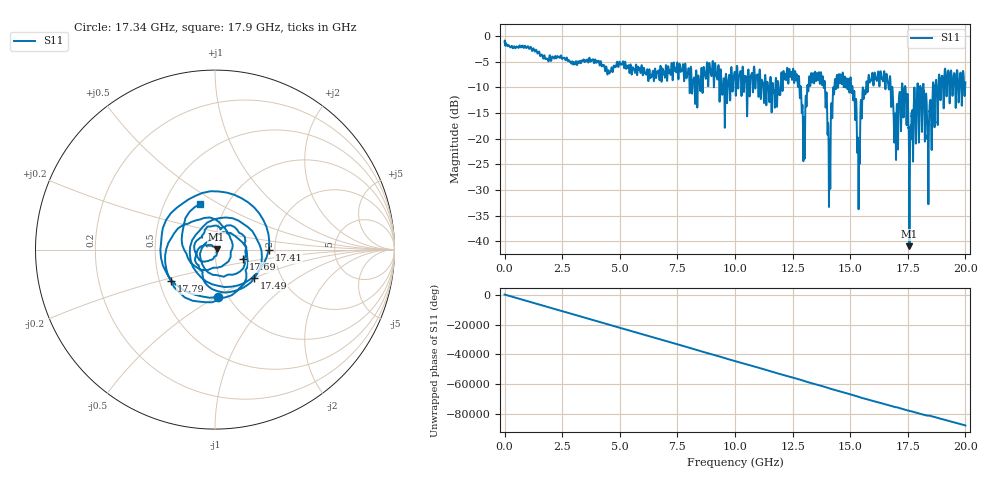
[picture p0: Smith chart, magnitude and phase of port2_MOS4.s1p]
! MS46122B
! 2250307/22442219
! 6/18/2025 7:51:07 AM
! C:\USERS\SPARKY\DOCUMENTS\VNA_DATA\JUNE18_2025\3.0K\PORT2_MOS4.S1P
! CHANNEL.1
! TR.MEASUREMENT
! RAW.DATA
# GHZ S RI R 50.0
! FREQ.GHZ  S11RE  S11IM
!; PortSelection: Port_1
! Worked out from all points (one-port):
!   10001 points, 1 MHz to 20 GHz, reference 50 ohm
!   lowest |S11| = -41.0 dB at 17.57 GHz (marker M1), VSWR 1.02, Z = 50.9 + j0.136 ohm
!   |S11| at or under -10 dB: 15.1 GHz to 15.69 GHz (584.5 MHz wide, 3.8 % of centre); 16.83 GHz to 17.25 GHz (414.4 MHz wide, 2.43 % of centre); 17.4 GHz to 17.91 GHz (508.1 MHz wide, 2.88 % of centre) (the widest 3 of 66)
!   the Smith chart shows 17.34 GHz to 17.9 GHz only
!   S11 on the Smith chart (normalised r, x): 17.34 GHz: 0.89, -0.51; 17.41 GHz: 1.86, -0.01; 17.49 GHz: 1.46, -0.49; 17.69 GHz: 1.36, -0.14; 17.79 GHz: 0.57, -0.22; 17.9 GHz: 0.75, +0.41
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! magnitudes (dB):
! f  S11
! 1 MHz  -1.2
! 2.501 GHz  -4.5
! 5.001 GHz  -5.0
! 7.501 GHz  -5.2
! 10 GHz  -7.3
! 12.5 GHz  -7.2
! 12.98 GHz  -21.1
! 13.3 GHz  -7.4
! 13.8 GHz  -7.9
! 14.09 GHz  -22.3
! 14.35 GHz  -8.5
! 15 GHz  -8.5
! 15.36 GHz  -31.2
! 15.54 GHz  -10.3
! 15.88 GHz  -8.6
! 16.66 GHz  -9.5
! 16.99 GHz  -24.2
! 17.34 GHz  -11.6
! 17.41 GHz  -10.5
! 17.49 GHz  -11.4
! 17.5 GHz  -12.0
! 17.57 GHz  -41.0
! 17.69 GHz  -15.6
! 17.79 GHz  -10.4
! 17.9 GHz  -11.5
! 18.44 GHz  -13.7
! 18.93 GHz  -12.1
! 20 GHz  -9.0
